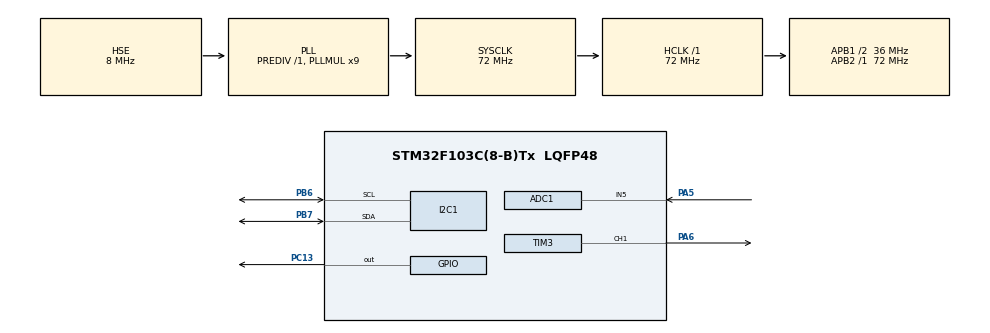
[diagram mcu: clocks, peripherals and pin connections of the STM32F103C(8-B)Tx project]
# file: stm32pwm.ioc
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ADC1.Channel-0\#ChannelRegularConversion=ADC_CHANNEL_5
ADC1.NbrOfConversionFlag=1
ADC1.Rank-0\#ChannelRegularConversion=1
ADC1.SamplingTime-0\#ChannelRegularConversion=ADC_SAMPLETIME_1CYCLE_5
ADC1.master=1
Mcu.Family=STM32F1
Mcu.Name=STM32F103C(8-B)Tx
Mcu.Package=LQFP48
NVIC.PriorityGroup=NVIC_PRIORITYGROUP_4
PA13.Mode=Serial_Wire
PA13.Signal=SYS_JTMS-SWDIO
PA14.Mode=Serial_Wire
PA14.Signal=SYS_JTCK-SWCLK
PA5.Signal=ADCx_IN5
PA6.Signal=S_TIM3_CH1
PB6.Mode=I2C
PB6.Signal=I2C1_SCL
PB7.Mode=I2C
PB7.Signal=I2C1_SDA
PC13-TAMPER-RTC.Signal=GPIO_Output
PD0-OSC_IN.Mode=HSE-External-Oscillator
PD0-OSC_IN.Signal=RCC_OSC_IN
PD1-OSC_OUT.Mode=HSE-External-Oscillator
PD1-OSC_OUT.Signal=RCC_OSC_OUT
ProjectManager.HeapSize=0x200
ProjectManager.StackSize=0x400
ProjectManager.TargetToolchain=CMake
RCC.ADCPresc=RCC_ADCPCLK2_DIV6
RCC.AHBFreq_Value=72000000
RCC.APB1CLKDivider=RCC_HCLK_DIV2
RCC.APB1Freq_Value=36000000
RCC.APB1TimFreq_Value=72000000
RCC.APB2Freq_Value=72000000
RCC.APB2TimFreq_Value=72000000
RCC.HCLKFreq_Value=72000000
RCC.PLLMUL=RCC_PLL_MUL9
RCC.PLLSourceVirtual=RCC_PLLSOURCE_HSE
RCC.SYSCLKFreq_VALUE=72000000
RCC.SYSCLKSource=RCC_SYSCLKSOURCE_PLLCLK
RCC.USBFreq_Value=72000000
SH.ADCx_IN5.0=ADC1_IN5,IN5
SH.S_TIM3_CH1.0=TIM3_CH1,PWM Generation1 CH1
TIM3.Channel-PWM\ Generation1\ CH1=TIM_CHANNEL_1
TIM3.Period=100-1
TIM3.Prescaler=72-1
TIM3.Pulse-PWM\ Generation1\ CH1=50
VP_TIM3_VS_ClockSourceINT.Mode=Internal
board=custom

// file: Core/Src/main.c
/* USER CODE BEGIN Header */
/**
  ******************************************************************************
  * @file           : main.c
  * @brief          : Main program body
  ******************************************************************************
  * @attention
  *
  * Copyright (c) 2025 STMicroelectronics.
  * All rights reserved.
  *
  * This software is licensed under terms that can be found in the LICENSE file
  * in the root directory of this software component.
  * If no LICENSE file comes with this software, it is provided AS-IS.
  *
  ******************************************************************************
  */
/* USER CODE END Header */
#include "main.h"
#include "adc.h"
#include "i2c.h"
#include "stm32f1xx_hal_adc_ex.h"
#include "tim.h"
#include "gpio.h"

/* USER CODE BEGIN Includes */
#include "ssd1306.h"
#include "fonts.h"
#include "stdio.h"
/* USER CODE END Includes */

/* USER CODE BEGIN PV */
int adc_value = 0;
float voltage = 0.0;
char voltage_str[10];
/* USER CODE END PV */

void SystemClock_Config(void);
/* USER CODE BEGIN PFP */
void ESC_Calibration(void);
void ESC_Init(void);
void ESC_Diagnostic(void);
void ESC_FrequencyTest(void);
/* USER CODE END PFP */

int main(void)
{

  /* MCU Configuration--------------------------------------------------------*/

  /* Reset of all peripherals, Initializes the Flash interface and the Systick. */
  HAL_Init();

  /* Configure the system clock */
  SystemClock_Config();

  /* Initialize all configured peripherals */
  MX_GPIO_Init();
  MX_TIM3_Init();
  MX_ADC1_Init();
  MX_I2C1_Init();
  /* USER CODE BEGIN 2 */
  SSD1306_Init();
  // SSD1306_GotoXY(10, 10);
  // SSD1306_Puts("HELLO", &Font_7x10, 1);
  // SSD1306_GotoXY (10, 30);
  // SSD1306_Puts ("WORLD !!", &Font_7x10, 1);
  // SSD1306_UpdateScreen();

  // Start PWM and ADC calibration
  HAL_TIM_PWM_Start(&htim3, TIM_CHANNEL_1);
  HAL_ADCEx_Calibration_Start(&hadc1);

  // 电调初始化序列
  ESC_Init();

  // 电调诊断（可选，用于调试）
  //ESC_Diagnostic();
  /* USER CODE END 2 */

  /* Infinite loop */
  while (1)
  {

    /* USER CODE BEGIN 3 */
    // for (int i = 0; i < 100; i++) {
    //   __HAL_TIM_SET_COMPARE(&htim3, TIM_CHANNEL_1, i);
    //   HAL_Delay(10);
    // }

    // for (int i = 99; i >= 0; i--) {
    //   __HAL_TIM_SET_COMPARE(&htim3, TIM_CHANNEL_1, i);
    //   HAL_Delay(10);
    // }
    // Start ADC conversion
    HAL_ADC_Start_IT(&hadc1);
    // Wait for conversion to complete
    HAL_ADC_PollForConversion(&hadc1, HAL_MAX_DELAY);
    adc_value = HAL_ADC_GetValue(&hadc1);
    // Calculate voltage
    voltage = (float)adc_value / 4095.0f * 3.3f;
    sprintf(voltage_str, "%.2f", voltage);

    // 将ADC值转换为电调PWM脉宽 (1ms-2ms对应1000-2000)
    uint16_t esc_pulse = 1000 + (float)adc_value / 4095.0f * 1000.0f;
    __HAL_TIM_SET_COMPARE(&htim3, TIM_CHANNEL_1, esc_pulse);

    // 调试信息：显示PWM值
    char pwm_str[20];
    sprintf(pwm_str, "PWM:%d", esc_pulse);
    SSD1306_GotoXY(10, 70);
    SSD1306_Puts(pwm_str, &Font_7x10, 1);
    // Display voltage
    SSD1306_GotoXY(10, 10);
    SSD1306_Puts("Value:", &Font_7x10, 1);
    SSD1306_GotoXY(10, 30);
    SSD1306_Puts(voltage_str, &Font_7x10, 1);
    SSD1306_GotoXY(10, 50);
    SSD1306_Puts("V", &Font_7x10, 1);
    SSD1306_UpdateScreen();
    // Wait for 500ms
    HAL_Delay(500);
  }
  /* USER CODE END 3 */
}

void SystemClock_Config(void)
{
  RCC_OscInitTypeDef RCC_OscInitStruct = {0};
  RCC_ClkInitTypeDef RCC_ClkInitStruct = {0};
  RCC_PeriphCLKInitTypeDef PeriphClkInit = {0};

  /** Initializes the RCC Oscillators according to the specified parameters
  * in the RCC_OscInitTypeDef structure.
  */
  RCC_OscInitStruct.OscillatorType = RCC_OSCILLATORTYPE_HSE;
  RCC_OscInitStruct.HSEState = RCC_HSE_ON;
  RCC_OscInitStruct.HSEPredivValue = RCC_HSE_PREDIV_DIV1;
  RCC_OscInitStruct.HSIState = RCC_HSI_ON;
  RCC_OscInitStruct.PLL.PLLState = RCC_PLL_ON;
  RCC_OscInitStruct.PLL.PLLSource = RCC_PLLSOURCE_HSE;
  RCC_OscInitStruct.PLL.PLLMUL = RCC_PLL_MUL9;
  if (HAL_RCC_OscConfig(&RCC_OscInitStruct) != HAL_OK)
  {
    Error_Handler();
  }

  /** Initializes the CPU, AHB and APB buses clocks
  */
  RCC_ClkInitStruct.ClockType = RCC_CLOCKTYPE_HCLK|RCC_CLOCKTYPE_SYSCLK
                              |RCC_CLOCKTYPE_PCLK1|RCC_CLOCKTYPE_PCLK2;
  RCC_ClkInitStruct.SYSCLKSource = RCC_SYSCLKSOURCE_PLLCLK;
  RCC_ClkInitStruct.AHBCLKDivider = RCC_SYSCLK_DIV1;
  RCC_ClkInitStruct.APB1CLKDivider = RCC_HCLK_DIV2;
  RCC_ClkInitStruct.APB2CLKDivider = RCC_HCLK_DIV1;

  if (HAL_RCC_ClockConfig(&RCC_ClkInitStruct, FLASH_LATENCY_2) != HAL_OK)
  {
    Error_Handler();
  }
  PeriphClkInit.PeriphClockSelection = RCC_PERIPHCLK_ADC;
  PeriphClkInit.AdcClockSelection = RCC_ADCPCLK2_DIV6;
  if (HAL_RCCEx_PeriphCLKConfig(&PeriphClkInit) != HAL_OK)
  {
    Error_Handler();
  }
}

/* USER CODE BEGIN 4 */

/**
 * @brief 电调初始化函数
 * @retval None
 */
void ESC_Init(void)
{
    // 显示初始化开始信息
    SSD1306_Clear();
    SSD1306_GotoXY(10, 10);
    SSD1306_Puts("ESC Init", &Font_7x10, 1);
    SSD1306_GotoXY(10, 30);
    SSD1306_Puts("Starting...", &Font_7x10, 1);
    SSD1306_UpdateScreen();
    HAL_Delay(1000);

    // 步骤1: 发送最小油门信号 (1ms脉宽) - 电调启动
    SSD1306_Clear();
    SSD1306_GotoXY(10, 10);
    SSD1306_Puts("Step 1: Min", &Font_7x10, 1);
    SSD1306_GotoXY(10, 30);
    SSD1306_Puts("Throttle", &Font_7x10, 1);
    SSD1306_UpdateScreen();

    __HAL_TIM_SET_COMPARE(&htim3, TIM_CHANNEL_1, 1000); // 1ms脉宽
    HAL_Delay(3000); // 等待3秒，让电调完全启动

    // 步骤2: 发送中位信号 (1.5ms脉宽) - 电调就绪
    SSD1306_Clear();
    SSD1306_GotoXY(10, 10);
    SSD1306_Puts("Step 2: Center", &Font_7x10, 1);
    SSD1306_GotoXY(10, 30);
    SSD1306_Puts("Position", &Font_7x10, 1);
    SSD1306_UpdateScreen();

    __HAL_TIM_SET_COMPARE(&htim3, TIM_CHANNEL_1, 1500); // 1.5ms脉宽
    HAL_Delay(2000); // 等待2秒，让电调稳定

    // 初始化完成
    SSD1306_Clear();
    SSD1306_GotoXY(10, 10);
    SSD1306_Puts("ESC Ready!", &Font_7x10, 1);
    SSD1306_GotoXY(10, 30);
    SSD1306_Puts("Use ADC to", &Font_7x10, 1);
    SSD1306_GotoXY(10, 50);
    SSD1306_Puts("control", &Font_7x10, 1);
    SSD1306_UpdateScreen();
    HAL_Delay(2000);
}

/**
 * @brief 电调诊断函数
 * @retval None
 */
void ESC_Diagnostic(void)
{
    // 显示诊断开始信息
    SSD1306_Clear();
    SSD1306_GotoXY(10, 10);
    SSD1306_Puts("ESC Diagnostic", &Font_7x10, 1);
    SSD1306_UpdateScreen();
    HAL_Delay(1000);

    // 测试1: 最小油门信号
    SSD1306_Clear();
    SSD1306_GotoXY(10, 10);
    SSD1306_Puts("Test 1: Min", &Font_7x10, 1);
    SSD1306_GotoXY(10, 30);
    SSD1306_Puts("PWM: 1000", &Font_7x10, 1);
    SSD1306_UpdateScreen();

    __HAL_TIM_SET_COMPARE(&htim3, TIM_CHANNEL_1, 1000);
    HAL_Delay(3000);

    // 测试2: 中位信号
    SSD1306_Clear();
    SSD1306_GotoXY(10, 10);
    SSD1306_Puts("Test 2: Center", &Font_7x10, 1);
    SSD1306_GotoXY(10, 30);
    SSD1306_Puts("PWM: 1500", &Font_7x10, 1);
    SSD1306_UpdateScreen();

    __HAL_TIM_SET_COMPARE(&htim3, TIM_CHANNEL_1, 1500);
    HAL_Delay(3000);

    // 测试3: 最大油门信号
    SSD1306_Clear();
    SSD1306_GotoXY(10, 10);
    SSD1306_Puts("Test 3: Max", &Font_7x10, 1);
    SSD1306_GotoXY(10, 30);
    SSD1306_Puts("PWM: 2000", &Font_7x10, 1);
    SSD1306_UpdateScreen();

    __HAL_TIM_SET_COMPARE(&htim3, TIM_CHANNEL_1, 2000);
    HAL_Delay(3000);

    // 返回中位
    __HAL_TIM_SET_COMPARE(&htim3, TIM_CHANNEL_1, 1500);

    // 诊断完成
    SSD1306_Clear();
    SSD1306_GotoXY(10, 10);
    SSD1306_Puts("Diagnostic", &Font_7x10, 1);
    SSD1306_GotoXY(10, 30);
    SSD1306_Puts("Complete", &Font_7x10, 1);
    SSD1306_UpdateScreen();
    HAL_Delay(2000);
}

/**
 * @brief 电调频率测试函数
 * @retval None
 */
void ESC_FrequencyTest(void)
{
    // 测试不同频率的PWM信号
    uint16_t test_frequencies[] = {50, 100, 200, 400}; // Hz
    uint8_t num_tests = sizeof(test_frequencies) / sizeof(test_frequencies[0]);

    for (uint8_t i = 0; i < num_tests; i++) {
        // 显示当前测试频率
        SSD1306_Clear();
        SSD1306_GotoXY(10, 10);
        SSD1306_Puts("Freq Test", &Font_7x10, 1);
        SSD1306_GotoXY(10, 30);
        char freq_str[20];
        sprintf(freq_str, "%d Hz", test_frequencies[i]);
        SSD1306_Puts(freq_str, &Font_7x10, 1);
        SSD1306_UpdateScreen();

        // 重新配置定时器频率
        uint32_t period = 72000000 / 72 / test_frequencies[i] - 1;
        __HAL_TIM_SET_AUTORELOAD(&htim3, period);

        // 发送中位信号
        uint16_t center_pulse = period * 1500 / 20000; // 1.5ms脉宽
        __HAL_TIM_SET_COMPARE(&htim3, TIM_CHANNEL_1, center_pulse);

        HAL_Delay(3000); // 测试3秒
    }

    // 恢复50Hz
    __HAL_TIM_SET_AUTORELOAD(&htim3, 20000-1);
    __HAL_TIM_SET_COMPARE(&htim3, TIM_CHANNEL_1, 1500);
}

/* USER CODE END 4 */

void Error_Handler(void)
{
  __disable_irq();
  while (1)
  {
  }
}
